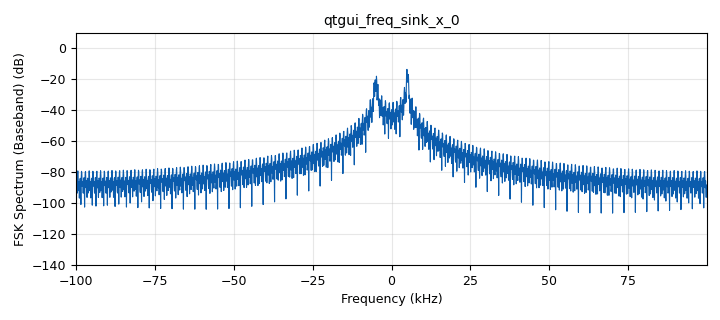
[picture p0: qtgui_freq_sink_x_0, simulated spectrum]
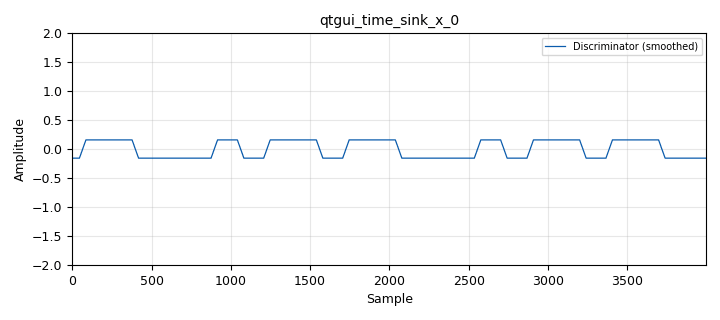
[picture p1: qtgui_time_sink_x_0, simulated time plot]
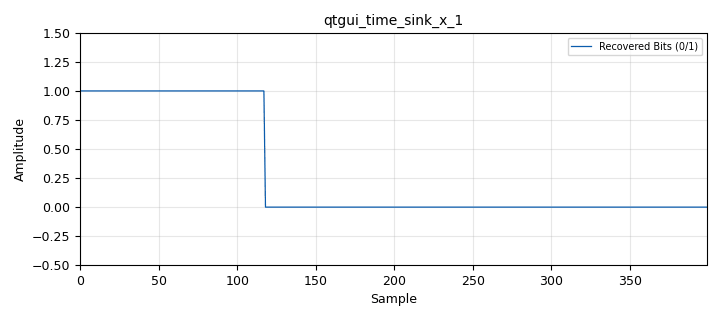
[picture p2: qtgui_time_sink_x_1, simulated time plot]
options:
  parameters:
    author: DJ2RF
    category: '[Digital Demos]'
    comment: '2-FSK demo (no hardware) with demod: quad demod + smoothing + slicer + bit plot'
    description: FSK generator -> quadrature demod -> moving average -> binary slicer -> bits
    generate_options: qt_gui
    id: fsk_full_demod
    output_language: python
    title: 2-FSK Demo (Baseband) – Full Demod (Robust)
  states: {}

blocks:
- name: samp_rate
  id: variable
  parameters:
    value: '200000'
  states: {}
- name: baud
  id: variable
  parameters:
    value: '1200'
  states: {}
- name: sps
  id: variable
  parameters:
    value: int(samp_rate/baud)
  states: {}
- name: f_dev
  id: variable
  parameters:
    value: '5000'
  states: {}
- name: sens
  id: variable
  parameters:
    value: 2*math.pi*f_dev/samp_rate
  states: {}
- name: avg_len
  id: variable
  parameters:
    value: max(1, int(sps/4))
  states: {}
- name: blocks_vector_source_x_0
  id: blocks_vector_source_x
  parameters:
    type: float
    vector: '[-1.0, 1.0, 1.0, -1.0, -1.0, -1.0, 1.0, -1.0, 1.0, 1.0]'
    repeat: 'True'
  states: {}
- name: blocks_repeat_0
  id: blocks_repeat
  parameters:
    type: float
    interp: sps
  states: {}
- name: analog_frequency_modulator_fc_0
  id: analog_frequency_modulator_fc
  parameters:
    sensitivity: sens
  states: {}
- name: blocks_throttle_0
  id: blocks_throttle
  parameters:
    type: complex
    samples_per_second: samp_rate
  states: {}
- name: analog_quadrature_demod_cf_0
  id: analog_quadrature_demod_cf
  parameters:
    gain: '1.0'
  states: {}
- name: blocks_moving_average_xx_0
  id: blocks_moving_average_xx
  parameters:
    type: float
    length: avg_len
    scale: 1.0/avg_len
    max_iter: '4000'
  states: {}
- name: digital_binary_slicer_fb_0
  id: digital_binary_slicer_fb
  parameters: {}
  states: {}
- name: blocks_uchar_to_float_0
  id: blocks_uchar_to_float
  parameters: {}
  states: {}
- name: qtgui_freq_sink_x_0
  id: qtgui_freq_sink_x
  parameters:
    type: complex
    fftsize: '2048'
    fc: '0'
    bw: samp_rate
    label: FSK Spectrum (Baseband)
  states: {}
- name: qtgui_time_sink_x_0
  id: qtgui_time_sink_x
  parameters:
    type: float
    samp_rate: samp_rate
    size: '4000'
    ymin: '-2'
    ymax: '2'
    grid: 'True'
    label1: Discriminator (smoothed)
  states: {}
- name: qtgui_time_sink_x_1
  id: qtgui_time_sink_x
  parameters:
    type: float
    samp_rate: baud
    size: '400'
    ymin: '-0.5'
    ymax: '1.5'
    grid: 'True'
    label1: Recovered Bits (0/1)
  states: {}

connections:
- [blocks_vector_source_x_0, '0', blocks_repeat_0, '0']
- [blocks_repeat_0, '0', analog_frequency_modulator_fc_0, '0']
- [analog_frequency_modulator_fc_0, '0', blocks_throttle_0, '0']
- [blocks_throttle_0, '0', qtgui_freq_sink_x_0, '0']
- [blocks_throttle_0, '0', analog_quadrature_demod_cf_0, '0']
- [analog_quadrature_demod_cf_0, '0', blocks_moving_average_xx_0, '0']
- [blocks_moving_average_xx_0, '0', digital_binary_slicer_fb_0, '0']
- [digital_binary_slicer_fb_0, '0', blocks_uchar_to_float_0, '0']
- [blocks_moving_average_xx_0, '0', qtgui_time_sink_x_0, '0']
- [blocks_uchar_to_float_0, '0', qtgui_time_sink_x_1, '0']

metadata:
  file_format: 1
  grc_version: 3.10.5.1
